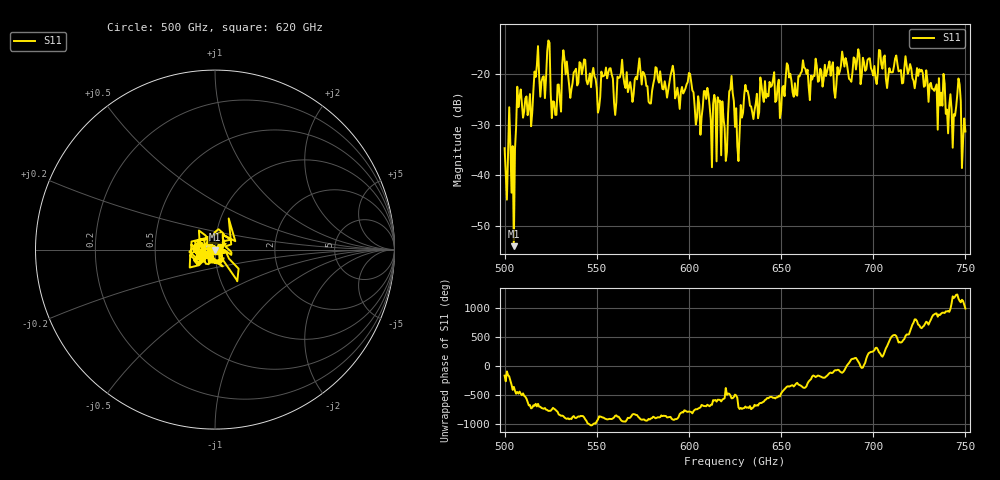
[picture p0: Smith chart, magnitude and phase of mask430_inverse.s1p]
!Created with skrf (http://scikit-rf.org).
# GHz S MA R 50.0
!freq magS11 angS11
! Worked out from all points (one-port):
!   401 points, 500 GHz to 750 GHz, reference 50 ohm
!   lowest |S11| = -54.1 dB at 505 GHz (marker M1), VSWR 1.00, Z = 50.2 - j0.00739 ohm
!   |S11| at or under -10 dB: start of sweep to end of sweep
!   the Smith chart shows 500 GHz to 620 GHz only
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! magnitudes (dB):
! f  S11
! 500 GHz  -34.7
! 505 GHz  -54.1
! 508.1 GHz  -24.4
! 513.8 GHz  -23.9
! 516.9 GHz  -20.6
! 520.6 GHz  -20.6
! 523.8 GHz  -13.3
! 526.9 GHz  -25.5
! 531.2 GHz  -18.1
! 542.5 GHz  -18.8
! 550.6 GHz  -27.6
! 562.5 GHz  -20.6
! 578.8 GHz  -25.8
! 590.6 GHz  -19.4
! 593.8 GHz  -22.7
! 600 GHz  -19.8
! 605 GHz  -24.4
! 609.4 GHz  -24.9
! 620 GHz  -37.2
! 623.1 GHz  -20.4
! 625 GHz  -30.4
! 626.2 GHz  -34.2
! 656.2 GHz  -23.6
! 687.5 GHz  -21.1
! 718.8 GHz  -19.9
! 741.9 GHz  -24.0
! 746.2 GHz  -20.8
! 750 GHz  -31.4
